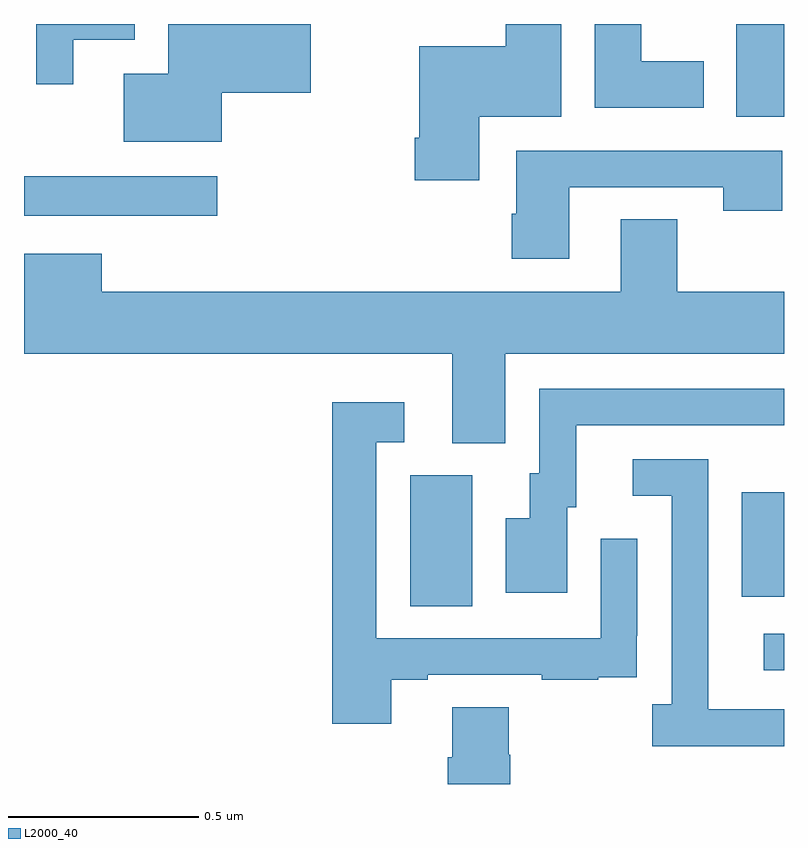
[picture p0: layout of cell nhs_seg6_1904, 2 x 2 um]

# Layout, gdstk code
import gdstk
lib = gdstk.Library(unit=1e-6, precision=1e-09)
def R(c, l, rs):  # rectangles x0, y0, x1, y1
    for r in rs: c.add(gdstk.rectangle(r[:2], r[2:], *l))
def P(c, l, *ps):  # polygons
    for p in ps: c.add(gdstk.Polygon(p, *l))
L2000_40 = (2000, 40)

nhs_seg6_1904 = lib.new_cell('nhs_seg6_1904')
R(nhs_seg6_1904, L2000_40, [(136.947,983.799,137,983.895), (136.016,983.968,136.18,984.312), (136.889,983.993,137,984.268), (135,984.995,135.508,985.099), (136.874,985.256,137,985.5)])
P(nhs_seg6_1904, L2000_40, [(135.13,985.458),(135.292,985.458),(135.292,985.5),(135.032,985.5),(135.032,985.341),(135.13,985.341)],
  [(136.198,985.256),(136.414,985.256),(136.414,985.5),(136.268,985.5),(136.268,985.441),(136.04,985.441),(136.04,985.201),(136.028,985.201),(136.028,985.089),(136.198,985.089)],
  [(135.52,985.319),(135.754,985.319),(135.754,985.5),(135.38,985.5),(135.38,985.369),(135.263,985.369),(135.263,985.19),(135.52,985.19)],
  [(136.789,985.402),(136.624,985.402),(136.624,985.5),(136.502,985.5),(136.502,985.28),(136.789,985.28)],
  [(136.435,985.071),(136.84,985.071),(136.84,985.008),(136.996,985.008),(136.996,985.167),(136.295,985.167),(136.295,985.001),(136.283,985.001),(136.283,984.882),(136.435,984.882)],
  [(136.267,984.632),(137,984.632),(137,984.796),(136.719,984.796),(136.719,984.986),(136.571,984.986),(136.571,984.796),(135.205,984.796),(135.205,984.895),(135,984.895),(135,984.632),(136.127,984.632),(136.127,984.397),(136.267,984.397)],
  [(136.429,984.228),(136.453,984.228),(136.453,984.444),(137,984.444),(137,984.54),(136.356,984.54),(136.356,984.318),(136.331,984.318),(136.331,984.199),(136.268,984.199),(136.268,984.003),(136.429,984.003)],
  [(135.967,983.775),(136.063,983.775),(136.063,983.787),(136.363,983.787),(136.363,983.775),(136.511,983.775),(136.511,983.781),(136.613,983.781),(136.613,983.89),(136.614,983.89),(136.614,984.145),(136.518,984.145),(136.518,983.883),(135.927,983.883),(135.927,984.399),(136,984.399),(136,984.505),(135.811,984.505),(135.811,983.658),(135.967,983.658)],
  [(137,983.697),(136.801,983.697),(136.801,983.897),(136.8,983.897),(136.8,984.354),(136.602,984.354),(136.602,984.258),(136.704,984.258),(136.704,983.71),(136.653,983.71),(136.653,983.6),(137,983.6)],
  [(136.28,983.577),(136.275,983.577),(136.275,983.702),(136.127,983.702),(136.127,983.57),(136.115,983.57),(136.115,983.5),(136.28,983.5)])

lib.write_gds('nhs_seg6_1904.gds')
